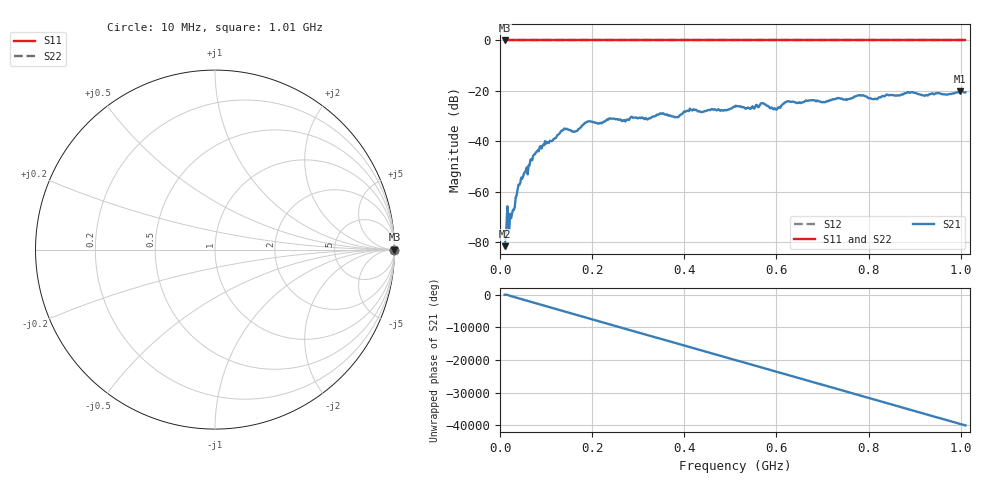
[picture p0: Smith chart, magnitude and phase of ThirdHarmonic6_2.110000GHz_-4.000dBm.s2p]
! 8/17/2025 1:13:56 AM
! C:\ANRITSUVNA\TEMP\TEMP.S2P
! CHANNEL.1
! TR.MEASUREMENT
! RAW.DATA
! RF.CORRECTION.OFF
! AVERAGING.OFF
! IF.BANDWIDTH: 5KHZ
! SWEEPTYPE:  FREQ.SWEEP(Linear)
! Reference Plane Port Info
! PORT:  PORT1  PORT2
! DISTANCE:  0  m  0  m
! TIME:  0  s  0  s
! PHASE.OFFSET:  0  deg.  0  deg.
! LOSS:  0  dB  0  dB
! REF.LOSS:  0  dB  0  dB
! REF.FREQ:  0  Hz  0  Hz
! Power Info
! POWER:  -20  dBm  -20  dBm
! EFF.POWER:  -20  dBm  -20  dBm
! SOURCE.ATTEN:  0  dB  0  dB
! TEST.ATTEN:  0  dB  0  dB
# GHZ S RI R 50.0
! FREQ.GHZ  S11RE  S11IM  S21RE  S21IM  S12RE  S12IM  S22RE  S22IM
!; PortSelection: Port_12
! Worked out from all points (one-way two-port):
!   501 points, 10 MHz to 1.01 GHz, reference 50 ohm
!   highest |S21| = -20.04 dB at 998 MHz (marker M1); lowest = -81.6 dB at 10 MHz (marker M2)
!   lowest |S11| = 0.0 dB at 10 MHz (marker M3)
!   |S11| at or under -10 dB: nowhere
!   |S22| runs from 0.0 to 0.0 dB; largest |S21 - S12| = 1.1
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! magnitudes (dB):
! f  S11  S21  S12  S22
! 10 MHz  0.0  -81.6  0.0  0.0
! 18 MHz  0.0  -73.0  0.0  0.0
! 28 MHz  0.0  -67.1  0.0  0.0
! 42 MHz  0.0  -57.3  0.0  0.0
! 76 MHz  0.0  -45.1  0.0  0.0
! 136 MHz  0.0  -35.7  0.0  0.0
! 164 MHz  0.0  -36.0  0.0  0.0
! 178 MHz  0.0  -33.8  0.0  0.0
! 192 MHz  0.0  -32.1  0.0  0.0
! 322 MHz  0.0  -31.1  0.0  0.0
! 344 MHz  0.0  -29.4  0.0  0.0
! 384 MHz  0.0  -30.4  0.0  0.0
! 416 MHz  0.0  -27.7  0.0  0.0
! 510 MHz  0.0  -26.3  0.0  0.0
! 548 MHz  0.0  -26.1  0.0  0.0
! 570 MHz  0.0  -24.9  0.0  0.0
! 598 MHz  0.0  -27.2  0.0  0.0
! 624 MHz  0.0  -24.2  0.0  0.0
! 678 MHz  0.0  -23.7  0.0  0.0
! 844 MHz  0.0  -21.7  0.0  0.0
! 998 MHz  0.0  -20.0  0.0  0.0
! 1.01 GHz  0.0  -20.6  0.0  0.0
